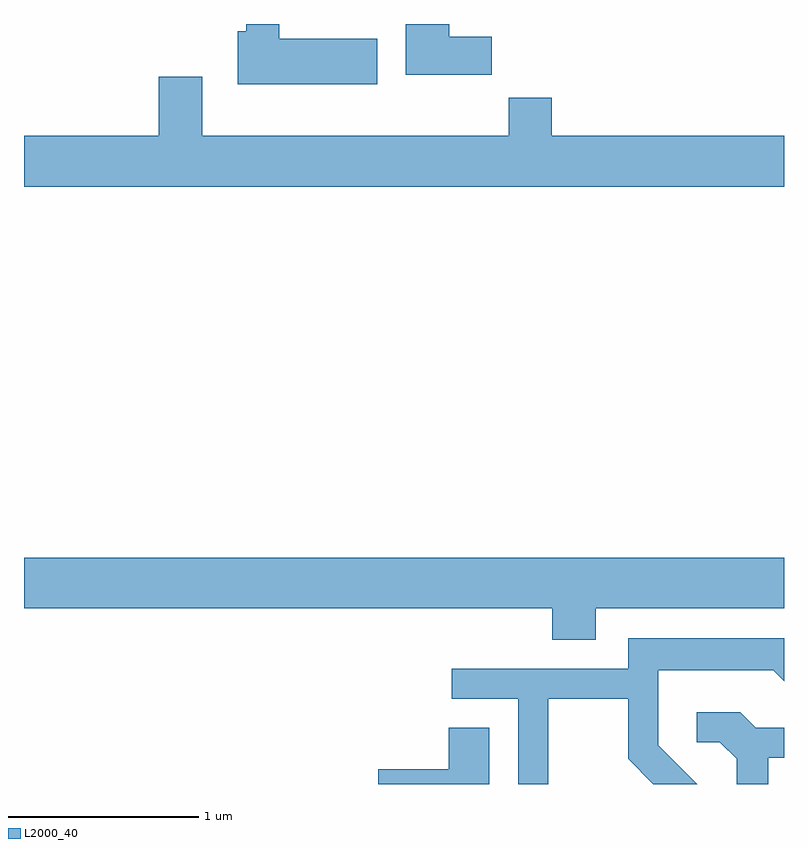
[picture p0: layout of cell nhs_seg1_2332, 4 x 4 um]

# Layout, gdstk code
import gdstk
lib = gdstk.Library(unit=1e-6, precision=1e-09)
def P(c, l, *ps):  # polygons
    for p in ps: c.add(gdstk.Polygon(p, *l))
L2000_40 = (2000, 40)

nhs_seg1_2332 = lib.new_cell('nhs_seg1_2332')
P(nhs_seg1_2332, L2000_40, [(258.074,953.644),(257.849,953.644),(257.849,953.712),(257.621,953.712),(257.621,953.446),(258.074,953.446)],
  [(257.469,953.634),(256.954,953.634),(256.954,953.712),(256.781,953.712),(256.781,953.674),(256.736,953.674),(256.736,953.396),(257.469,953.396)],
  [(259.611,953.124),(258.389,953.124),(258.389,953.324),(258.161,953.324),(258.161,953.124),(256.549,953.124),(256.549,953.434),(256.321,953.434),(256.321,953.124),(255.611,953.124),(255.611,952.856),(259.611,952.856)],
  [(258.619,950.636),(259.611,950.636),(259.611,950.904),(255.611,950.904),(255.611,950.636),(258.391,950.636),(258.391,950.471),(258.619,950.471)],
  [(258.369,950.161),(258.791,950.161),(258.791,949.844),(258.923,949.712),(259.154,949.712),(258.949,949.917),(258.949,950.311),(259.554,950.311),(259.611,950.254),(259.611,950.479),(258.791,950.479),(258.791,950.319),(257.863,950.319),(257.863,950.161),(258.211,950.161),(258.211,949.712),(258.369,949.712)],
  [(259.529,949.851),(259.611,949.851),(259.611,950.009),(259.462,950.009),(259.382,950.089),(259.153,950.089),(259.153,949.931),(259.274,949.931),(259.361,949.844),(259.361,949.712),(259.529,949.712)],
  [(258.059,950.009),(257.846,950.009),(257.846,949.789),(257.476,949.789),(257.476,949.712),(258.059,949.712)])

lib.write_gds('nhs_seg1_2332.gds')
